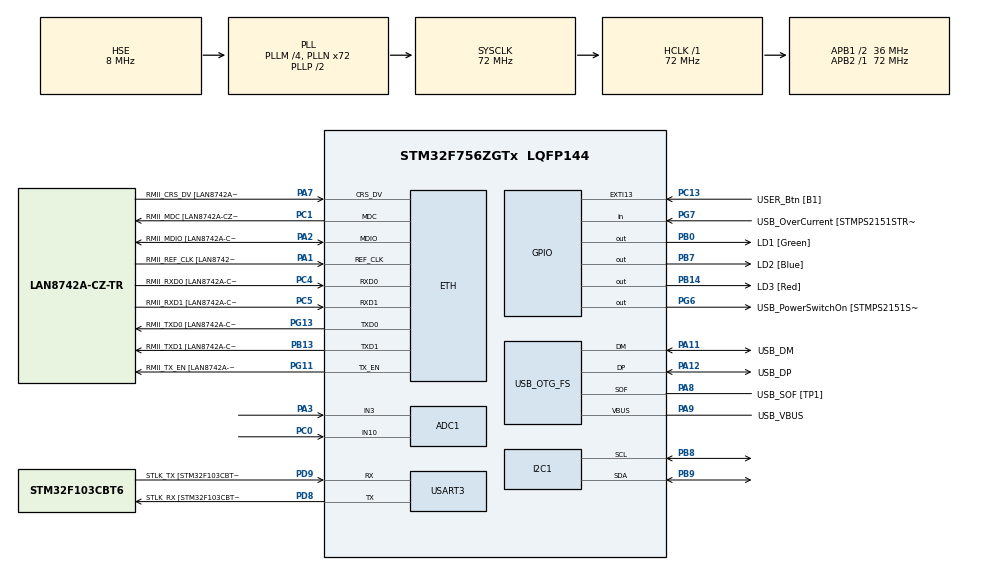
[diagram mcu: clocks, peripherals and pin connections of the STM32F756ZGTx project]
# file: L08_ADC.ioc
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ADC1.Channel-0\#ChannelRegularConversion=ADC_CHANNEL_3
ADC1.Channel-1\#ChannelRegularConversion=ADC_CHANNEL_10
ADC1.DiscontinuousConvMode=ENABLE
ADC1.NbrOfConversion=2
ADC1.NbrOfConversionFlag=1
ADC1.Rank-0\#ChannelRegularConversion=1
ADC1.Rank-1\#ChannelRegularConversion=2
ADC1.SamplingTime-0\#ChannelRegularConversion=ADC_SAMPLETIME_480CYCLES
ADC1.SamplingTime-1\#ChannelRegularConversion=ADC_SAMPLETIME_480CYCLES
ADC1.ScanConvMode=ADC_SCAN_ENABLE
ADC1.master=1
CORTEX_M7.default_mode_Activation=1
Dma.ADC1.0.Direction=DMA_PERIPH_TO_MEMORY
Dma.ADC1.0.FIFOMode=DMA_FIFOMODE_DISABLE
Dma.ADC1.0.Instance=DMA2_Stream0
Dma.ADC1.0.MemDataAlignment=DMA_MDATAALIGN_HALFWORD
Dma.ADC1.0.MemInc=DMA_MINC_ENABLE
Dma.ADC1.0.Mode=DMA_CIRCULAR
Dma.ADC1.0.PeriphDataAlignment=DMA_PDATAALIGN_HALFWORD
Dma.ADC1.0.PeriphInc=DMA_PINC_DISABLE
Dma.ADC1.0.Priority=DMA_PRIORITY_LOW
Dma.Request0=ADC1
ETH.MediaInterface=HAL_ETH_RMII_MODE
ETH.PHY_Name=LAN8742A_PHY_ADDRESS
ETH.PHY_Value=0
ETH.PhyAddress=0
I2C1.Timing=0x00808CD2
Mcu.Family=STM32F7
Mcu.Name=STM32F756ZGTx
Mcu.Package=LQFP144
NVIC.ADC_IRQn=true\:0\:0\:false\:false\:true\:true\:true\:true
NVIC.DMA2_Stream0_IRQn=true\:0\:0\:false\:false\:true\:false\:true\:true
NVIC.PriorityGroup=NVIC_PRIORITYGROUP_4
NVIC.TIM6_DAC_IRQn=true\:0\:0\:false\:false\:true\:true\:true\:true
NVIC.USART3_IRQn=true\:0\:0\:false\:false\:true\:true\:true\:true
PA1.GPIO_Label=RMII_REF_CLK [LAN8742A-CZ-TR_REFCLK0]
PA1.Mode=RMII
PA1.Signal=ETH_REF_CLK
PA10.GPIO_Label=USB_ID
PA10.Signal=USB_OTG_FS_ID
PA11.GPIO_Label=USB_DM
PA11.Mode=Device_Only
PA11.Signal=USB_OTG_FS_DM
PA12.GPIO_Label=USB_DP
PA12.Mode=Device_Only
PA12.Signal=USB_OTG_FS_DP
PA13.GPIO_Label=TMS
PA13.Mode=Serial_Wire
PA13.Signal=SYS_JTMS-SWDIO
PA14.GPIO_Label=TCK
PA14.Mode=Serial_Wire
PA14.Signal=SYS_JTCK-SWCLK
PA2.GPIO_Label=RMII_MDIO [LAN8742A-CZ-TR_MDIO]
PA2.Mode=RMII
PA2.Signal=ETH_MDIO
PA3.Signal=ADCx_IN3
PA7.GPIO_Label=RMII_CRS_DV [LAN8742A-CZ-TR_CRS_DV]
PA7.Mode=RMII
PA7.Signal=ETH_CRS_DV
PA8.GPIO_Label=USB_SOF [TP1]
PA8.Mode=Activate_SOF_FS
PA8.Signal=USB_OTG_FS_SOF
PA9.GPIO_Label=USB_VBUS
PA9.Mode=Activate_VBUS
PA9.Signal=USB_OTG_FS_VBUS
PB0.GPIO_Label=LD1 [Green]
PB0.Signal=GPIO_Output
PB13.GPIO_Label=RMII_TXD1 [LAN8742A-CZ-TR_TXD1]
PB13.Mode=RMII
PB13.Signal=ETH_TXD1
PB14.GPIO_Label=LD3 [Red]
PB14.Signal=GPIO_Output
PB3.GPIO_Label=SW0
PB3.Signal=SYS_JTDO-SWO
PB7.GPIO_Label=LD2 [Blue]
PB7.Signal=GPIO_Output
PB8.Mode=I2C
PB8.Signal=I2C1_SCL
PB9.Mode=I2C
PB9.Signal=I2C1_SDA
PC0.Signal=ADCx_IN10
PC1.GPIO_Label=RMII_MDC [LAN8742A-CZ-TR_MDC]
PC1.Mode=RMII
PC1.Signal=ETH_MDC
PC13.GPIO_Label=USER_Btn [B1]
PC13.Signal=GPXTI13
PC14/OSC32_IN.Mode=LSE-External-Oscillator
PC14/OSC32_IN.Signal=RCC_OSC32_IN
PC15/OSC32_OUT.Mode=LSE-External-Oscillator
PC15/OSC32_OUT.Signal=RCC_OSC32_OUT
PC4.GPIO_Label=RMII_RXD0 [LAN8742A-CZ-TR_RXD0]
PC4.Mode=RMII
PC4.Signal=ETH_RXD0
PC5.GPIO_Label=RMII_RXD1 [LAN8742A-CZ-TR_RXD1]
PC5.Mode=RMII
PC5.Signal=ETH_RXD1
PD8.GPIO_Label=STLK_RX [STM32F103CBT6_PA3]
PD8.Mode=Asynchronous
PD8.Signal=USART3_TX
PD9.GPIO_Label=STLK_TX [STM32F103CBT6_PA2]
PD9.Mode=Asynchronous
PD9.Signal=USART3_RX
PG11.GPIO_Label=RMII_TX_EN [LAN8742A-CZ-TR_TXEN]
PG11.Mode=RMII
PG11.Signal=ETH_TX_EN
PG13.GPIO_Label=RMII_TXD0 [LAN8742A-CZ-TR_TXD0]
PG13.Mode=RMII
PG13.Signal=ETH_TXD0
PG6.GPIO_Label=USB_PowerSwitchOn [STMPS2151STR_EN]
PG6.Signal=GPIO_Output
PG7.GPIO_Label=USB_OverCurrent [STMPS2151STR_FAULT]
PG7.Signal=GPIO_Input
PH0/OSC_IN.GPIO_Label=MCO [STM32F103CBT6_PA8]
PH0/OSC_IN.Mode=HSE-External-Clock-Source
PH0/OSC_IN.Signal=RCC_OSC_IN
PH1/OSC_OUT.Mode=HSE-External-Clock-Source
PH1/OSC_OUT.Signal=RCC_OSC_OUT
ProjectManager.HeapSize=0x200
ProjectManager.StackSize=0x400
ProjectManager.TargetToolchain=CMake
RCC.48MHZClocksFreq_Value=24000000
RCC.AHBFreq_Value=72000000
RCC.APB1CLKDivider=RCC_HCLK_DIV2
RCC.APB1Freq_Value=36000000
RCC.APB1TimFreq_Value=72000000
RCC.APB2Freq_Value=72000000
RCC.APB2TimFreq_Value=72000000
RCC.CortexFreq_Value=72000000
RCC.HCLKFreq_Value=72000000
RCC.HSE_VALUE=8000000
RCC.HSI_VALUE=16000000
RCC.PLLM=4
RCC.PLLMUL=RCC_PLL_MUL9
RCC.PLLN=72
RCC.PLLQ=3
RCC.PRESCALERUSB=RCC_USBCLKSOURCE_PLL_DIV1_5
RCC.SYSCLKFreq_VALUE=72000000
RCC.SYSCLKSource=RCC_SYSCLKSOURCE_PLLCLK
RCC.SYSCLKSourceVirtual=RCC_SYSCLKSOURCE_PLLCLK
RCC.USBFreq_Value=48000000
RCC.VCOOutputFreq_Value=144000000
SH.ADCx_IN10.0=ADC1_IN10,IN10
SH.ADCx_IN3.0=ADC1_IN3,IN3
TIM6.Period=4999
TIM6.Prescaler=7199
USART3.VirtualMode-Asynchronous=VM_ASYNC
USB_OTG_FS.VirtualMode=Device_Only
VP_TIM6_VS_ClockSourceINT.Mode=Enable_Timer
board=NUCLEO-F756ZG

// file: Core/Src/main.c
/* USER CODE BEGIN Header */
/**
  ******************************************************************************
  * @file           : main.c
  * @brief          : Main program body
  ******************************************************************************
  * @attention
  *
  * Copyright (c) 2026 STMicroelectronics.
  * All rights reserved.
  *
  * This software is licensed under terms that can be found in the LICENSE file
  * in the root directory of this software component.
  * If no LICENSE file comes with this software, it is provided AS-IS.
  *
  ******************************************************************************
  */
/* USER CODE END Header */
#include "main.h"
#include "adc.h"
#include "dma.h"
#include "eth.h"
#include "i2c.h"
#include "tim.h"
#include "usart.h"
#include "usb_otg.h"
#include "gpio.h"

/* USER CODE BEGIN Includes */
#include <stdio.h>
#include <string.h>
#include <math.h>
/* USER CODE END Includes */

/* USER CODE BEGIN PV */
volatile uint32_t ADCValue3 = 0; // Variable to store the ADC Channel 3 value
volatile uint32_t ADCConversion3 = 0;  // Variable to store the ADC Channel 3 conversion result
volatile uint32_t ADCValue4 = 0; // Variable to store the ADC Channel 4 value
volatile uint32_t ADCConversion4 = 0;  // Variable to store the ADC Channel 4 conversion result
uint8_t msgPlot[39];
uint8_t msgSerial[182];
volatile uint8_t uartSendFlag = 0; // Flag for UART transmission
volatile uint8_t currentRank = 0; // Variable to keep track of the current ADC rank
volatile uint8_t adcNextStep = 0; // Flag to indicate the next ADC step
float R4 = 5100.0f;
float V_ntc = 0.0f;
float R_ntc = 0.0f;
float T_celsius = 0.0f;
/* USER CODE END PV */

void SystemClock_Config(void);
static void MPU_Config(void);
/* USER CODE BEGIN PFP */
uint32_t ConvertADCToMillivolts(uint32_t adcValue) {
    return (adcValue * 3300) / 4095; // Convert ADC value to millivolts (assuming 12-bit ADC and 3.3V reference)
}

void HandleLEDStrip(uint32_t value) {
    if(value < 500) {
      HAL_GPIO_WritePin(GPIOB, LD1_Pin, GPIO_PIN_RESET);
      HAL_GPIO_WritePin(GPIOB, LD2_Pin, GPIO_PIN_RESET);
      HAL_GPIO_WritePin(GPIOB, LD3_Pin, GPIO_PIN_RESET);
    }
    else if(value < 1000) {
      HAL_GPIO_WritePin(GPIOB, LD1_Pin, GPIO_PIN_SET);
      HAL_GPIO_WritePin(GPIOB, LD2_Pin, GPIO_PIN_RESET);
      HAL_GPIO_WritePin(GPIOB, LD3_Pin, GPIO_PIN_RESET);
    }
    else if(value < 1500) {
      HAL_GPIO_WritePin(GPIOB, LD1_Pin, GPIO_PIN_SET);
      HAL_GPIO_WritePin(GPIOB, LD2_Pin, GPIO_PIN_SET);
      HAL_GPIO_WritePin(GPIOB, LD3_Pin, GPIO_PIN_RESET);
    }
    else {
      HAL_GPIO_WritePin(GPIOB, LD1_Pin, GPIO_PIN_SET);
      HAL_GPIO_WritePin(GPIOB, LD2_Pin, GPIO_PIN_SET);
      HAL_GPIO_WritePin(GPIOB, LD3_Pin, GPIO_PIN_SET);
    }
}

void HAL_TIM_PeriodElapsedCallback(TIM_HandleTypeDef *htim) {
    if (htim->Instance == TIM6) {
        uartSendFlag = 1; // Set the flag to indicate it's time to send data over UART
    }
}

void HAL_ADC_ConvCpltCallback(ADC_HandleTypeDef *hadc)
{
  if (hadc->Instance == ADC1)
  {
    if (currentRank == 0) {
        ADCValue3 = HAL_ADC_GetValue(hadc);
        ADCConversion3 = ConvertADCToMillivolts(ADCValue3);
        HandleLEDStrip(ADCConversion3);
        currentRank = 1; // Move to the next rank
    } else if (currentRank == 1) {
        ADCValue4 = HAL_ADC_GetValue(hadc);
        ADCConversion4 = ConvertADCToMillivolts(ADCValue4);
        currentRank = 0; // Reset to the first rank
    }
    adcNextStep = 1; // Indicate that the next ADC step can be taken
  }
}
/* USER CODE END PFP */

int main(void)
{

  /* MPU Configuration--------------------------------------------------------*/
  MPU_Config();

  /* MCU Configuration--------------------------------------------------------*/

  /* Reset of all peripherals, Initializes the Flash interface and the Systick. */
  HAL_Init();

  /* Configure the system clock */
  SystemClock_Config();

  /* Initialize all configured peripherals */
  MX_GPIO_Init();
  MX_DMA_Init();
  MX_ADC1_Init();
  MX_ETH_Init();
  MX_I2C1_Init();
  MX_USART3_UART_Init();
  MX_USB_OTG_FS_PCD_Init();
  MX_TIM6_Init();
  /* USER CODE BEGIN 2 */
  HAL_TIM_Base_Start_IT(&htim6); // Start the timer with interrupt
  HAL_ADC_Start_IT(&hadc1); // Start ADC in interrupt mode
  /* USER CODE END 2 */

  /* Infinite loop */
  /* USER CODE BEGIN WHILE */
  while (1)
  {
    if (adcNextStep) {
      adcNextStep = 0;
      if (currentRank == 1) {
        SET_BIT(hadc1.Instance->CR2, ADC_CR2_SWSTART); // Start Rank 2
      } else {
        HAL_ADC_Start_IT(&hadc1); // Start ADC conversion for Rank 1
      }
    }

    int len0 = sprintf((char*)msgPlot, ">napiecie_mV3:%lu\r\n>napiecie_mV4:%lu\r\n", ADCConversion3, ADCConversion4);
    HAL_UART_Transmit(&huart3, msgPlot, len0, 10);
    if (uartSendFlag) {
        uartSendFlag = 0; // Reset the flag

        V_ntc = (float)ADCConversion4;
        if (V_ntc >= 3299.0f) {
            V_ntc = 3299.0f; // Prevent division by zero or negative resistance
        }
        R_ntc = (R4 * V_ntc) / (3300.0f - V_ntc); // Calculate NTC resistance
        T_celsius = (1.0f / ((log(R_ntc / 10000.0f) / 3950.0f) + (1.0f / 298.15f))) - 273.15f; // Calculate temperature in Celsius

        int len2 = sprintf((char*)msgSerial, "{\"channel\":\"adc_in%d\", \"voltage\":%lu.%03lu}\r\n"
                                             "{\"channel\":\"adc_in%d\", \"voltage\":%.3f, \"RNTC\":%.3f, \"T\":%.3f}\r\n",
                                              3, ADCConversion3 / 1000, ADCConversion3 % 1000,
                                              10, V_ntc / 1000.0f, R_ntc, T_celsius);
        HAL_UART_Transmit_IT(&huart3, msgSerial, len2);
    }
    /* USER CODE END WHILE */

  }
}

void SystemClock_Config(void)
{
  RCC_OscInitTypeDef RCC_OscInitStruct = {0};
  RCC_ClkInitTypeDef RCC_ClkInitStruct = {0};

  /** Configure LSE Drive Capability
  */
  HAL_PWR_EnableBkUpAccess();

  /** Configure the main internal regulator output voltage
  */
  __HAL_RCC_PWR_CLK_ENABLE();
  __HAL_PWR_VOLTAGESCALING_CONFIG(PWR_REGULATOR_VOLTAGE_SCALE3);

  /** Initializes the RCC Oscillators according to the specified parameters
  * in the RCC_OscInitTypeDef structure.
  */
  RCC_OscInitStruct.OscillatorType = RCC_OSCILLATORTYPE_HSE;
  RCC_OscInitStruct.HSEState = RCC_HSE_BYPASS;
  RCC_OscInitStruct.PLL.PLLState = RCC_PLL_ON;
  RCC_OscInitStruct.PLL.PLLSource = RCC_PLLSOURCE_HSE;
  RCC_OscInitStruct.PLL.PLLM = 4;
  RCC_OscInitStruct.PLL.PLLN = 72;
  RCC_OscInitStruct.PLL.PLLP = RCC_PLLP_DIV2;
  RCC_OscInitStruct.PLL.PLLQ = 3;
  if (HAL_RCC_OscConfig(&RCC_OscInitStruct) != HAL_OK)
  {
    Error_Handler();
  }

  /** Initializes the CPU, AHB and APB buses clocks
  */
  RCC_ClkInitStruct.ClockType = RCC_CLOCKTYPE_HCLK|RCC_CLOCKTYPE_SYSCLK
                              |RCC_CLOCKTYPE_PCLK1|RCC_CLOCKTYPE_PCLK2;
  RCC_ClkInitStruct.SYSCLKSource = RCC_SYSCLKSOURCE_PLLCLK;
  RCC_ClkInitStruct.AHBCLKDivider = RCC_SYSCLK_DIV1;
  RCC_ClkInitStruct.APB1CLKDivider = RCC_HCLK_DIV2;
  RCC_ClkInitStruct.APB2CLKDivider = RCC_HCLK_DIV1;

  if (HAL_RCC_ClockConfig(&RCC_ClkInitStruct, FLASH_LATENCY_2) != HAL_OK)
  {
    Error_Handler();
  }
}

 /* MPU Configuration */

void MPU_Config(void)
{
  MPU_Region_InitTypeDef MPU_InitStruct = {0};

  /* Disables the MPU */
  HAL_MPU_Disable();

  /** Initializes and configures the Region and the memory to be protected
  */
  MPU_InitStruct.Enable = MPU_REGION_ENABLE;
  MPU_InitStruct.Number = MPU_REGION_NUMBER0;
  MPU_InitStruct.BaseAddress = 0x0;
  MPU_InitStruct.Size = MPU_REGION_SIZE_4GB;
  MPU_InitStruct.SubRegionDisable = 0x87;
  MPU_InitStruct.TypeExtField = MPU_TEX_LEVEL0;
  MPU_InitStruct.AccessPermission = MPU_REGION_NO_ACCESS;
  MPU_InitStruct.DisableExec = MPU_INSTRUCTION_ACCESS_DISABLE;
  MPU_InitStruct.IsShareable = MPU_ACCESS_SHAREABLE;
  MPU_InitStruct.IsCacheable = MPU_ACCESS_NOT_CACHEABLE;
  MPU_InitStruct.IsBufferable = MPU_ACCESS_NOT_BUFFERABLE;

  HAL_MPU_ConfigRegion(&MPU_InitStruct);
  /* Enables the MPU */
  HAL_MPU_Enable(MPU_PRIVILEGED_DEFAULT);

}

void Error_Handler(void)
{
  __disable_irq();
  while (1)
  {
  }
}
